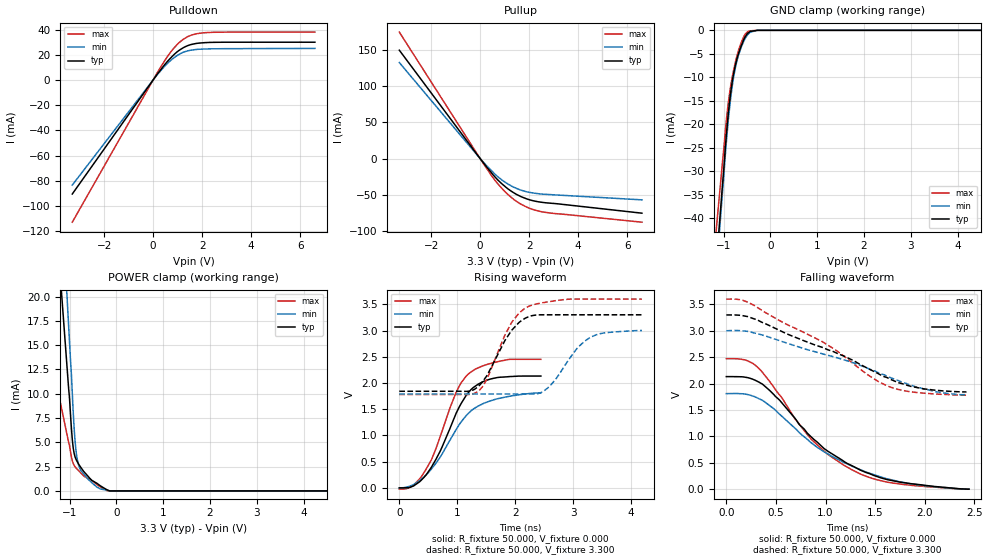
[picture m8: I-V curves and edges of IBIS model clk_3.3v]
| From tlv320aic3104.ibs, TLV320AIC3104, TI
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[Model]   clk_3.3v
Model_type I/O
Vinl=9.900E-01
Vinh=2.310E+00
Vref=0.000E+00
Rref=1.000E+06
Cref=0.000E+00
Vmeas=1.650E+00
C_comp   6.650E-13   6.560E-13   6.720E-13
[Voltage Range]   3.300E+00   3.000E+00   3.600E+00
[POWER Clamp Reference]   3.300E+00   3.000E+00   3.600E+00
[GND Clamp Reference]   0.000E+00   0.000E+00   0.000E+00
[Pullup Reference]   3.300E+00   3.000E+00   3.600E+00
[Pulldown Reference]   0.000E+00   0.000E+00   0.000E+00
[Temperature Range]   25   85   -40
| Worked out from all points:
|   slope of the pulldown table from 0 to 0.495 V, typ, clamps not added: 39.1 ohm
|   slope of the pullup table from 0 to 0.495 V, typ, clamps not added: 23.5 ohm
|   GND clamp passes 1 mA (typ) near -0.51 V on its own axis
|   POWER clamp passes 1 mA (typ) near -0.49 V on its own axis
|   rising waveform, R_fixture 50.000, V_fixture 0.000: 20-80 % time 551ps typ, 663ps min, 522ps max; typ from 0 V to 2.13 V
|   falling waveform, R_fixture 50.000, V_fixture 0.000: 20-80 % time 759ps typ, 839ps min, 692ps max; typ from 2.13 V to 0 V
|   rising waveform, R_fixture 50.000, V_fixture 3.300: 20-80 % time 435ps typ, 490ps min, 457ps max; typ from 1.84 V to 3.3 V
|   falling waveform, R_fixture 50.000, V_fixture 3.300: 20-80 % time 1.05ns typ, 1.14ns min, 948ps max; typ from 3.3 V to 1.84 V
[GND Clamp]
-3.3V     -324.4mA   -328.6mA   -273.3mA
-1.02V    -32.53mA   -34.19mA   -27.79mA
-940mV    -22.19mA   -23.78mA   -19.08mA
-900mV    -17.79mA   -19.26mA   -15.49mA
-840mV    -12.65mA   -13.8mA    -11.38mA
-780mV    -8.976mA   -9.691mA   -8.267mA
-740mV    -7.11mA    -7.6mA     -6.481mA
-680mV    -4.905mA   -5.251mA   -4.199mA
-560mV    -1.792mA   -2.16mA    -1.186mA
-480mV    -593.8uA   -878.4uA   -273.2uA
-280mV    0A         0A         0A
6.6V      0A         0A         0A
[Power Clamp]
-3.3V     158.5mA    217.7mA    57.87mA
-1.02V    10.61mA    17.09mA    5.023mA
-1V       9.532mA    15.33mA    4.646mA
-960mV    6.47mA     12.03mA    3.531mA
-920mV    4.39mA     8.03mA     2.811mA
-880mV    3.482mA    5.045mA    2.479mA
-840mV    3.046mA    3.377mA    2.262mA
-760mV    2.433mA    2.115mA    1.858mA
-520mV    1.072mA    829.8uA    1.057mA
-340mV    518.3uA    197.6uA    410.7uA
-140mV    0A         0A         0A
6.6V      0A         0A         0A
[Pullup]
-3.3V     149.9mA    132.8mA    174.9mA
0V        0A         0A         0A
440mV     -18.7mA    -15.88mA   -22.5mA
860mV     -34mA      -28.81mA   -40.14mA
1.12V     -41.41mA   -34.78mA   -49.17mA
1.38V     -47.37mA   -39.61mA   -56.62mA
1.68V     -52.72mA   -43.7mA    -63.2mA
1.98V     -56.54mA   -46.41mA   -68.11mA
2.58V     -60.63mA   -49.15mA   -73.8mA
6.6V      -75.37mA   -56.96mA   -87.83mA
[Pulldown]
-3.3V     -90.52mA   -83.45mA   -112.9mA
160mV     4.334mA    3.942mA    5.457mA
680mV     16.72mA    14.84mA    21.18mA
980mV     22.32mA    19.37mA    28.11mA
1.2V      25.21mA    21.74mA    31.83mA
1.56V     28.14mA    23.67mA    35.54mA
1.88V     29.23mA    24.36mA    37.01mA
2.3V      29.76mA    24.67mA    37.68mA
6.6V      29.93mA    25.01mA    37.96mA
[Rising Waveform]
R_fixture = 50.000
V_fixture = 0.000
V_fixture_min = 0.000
V_fixture_max = 0.000
|  time   V(typ)   V(min)   V(max)
0s        0V         0V         -23.91mV
245ps     36.07mV    61.46mV    51.4mV
460ps     243.4mV    243.8mV    351.7mV
555ps     395.1mV    361.3mV    536.5mV
705ps     697.4mV    584.9mV    977.3mV
980ps     1.418V     1.109V     1.818V
1.175ns   1.792V     1.402V     2.155V
1.365ns   1.978V     1.561V     2.29V
1.575ns   2.075V     1.659V     2.371V
2.445ns   2.132V     1.81V      2.451V
[Falling Waveform]
R_fixture = 50.000
V_fixture = 0.000
V_fixture_min = 0.000
V_fixture_max = 0.000
|  time   V(typ)   V(min)   V(max)
0s        2.132V     1.81V      2.472V
180ps     2.124V     1.803V     2.451V
290ps     2.064V     1.749V     2.352V
535ps     1.689V     1.423V     1.788V
690ps     1.346V     1.157V     1.338V
855ps     990.4mV    879.1mV    948.3mV
1.025ns   716.1mV    667.2mV    657.3mV
1.265ns   444.8mV    437.8mV    368.1mV
1.625ns   179.1mV    193.6mV    132.5mV
2.445ns   0V         0V         0V
[Rising Waveform]
R_fixture = 50.000
V_fixture = 3.300
V_fixture_min = 3.000
V_fixture_max = 3.600
|  time   V(typ)   V(min)   V(max)
0s        1.842V     1.79V      1.78V
1.16ns    1.84V      1.79V      1.779V
1.355ns   1.924V     1.79V      1.834V
1.525ns   2.164V     1.79V      2.099V
1.945ns   3.01V      1.79V      3.162V
2.25ns    3.271V     1.79V      3.469V
2.575ns   3.3V       1.918V     3.549V
3.06ns    3.3V       2.646V     3.6V
3.275ns   3.3V       2.852V     3.6V
4.19ns    3.3V       3V         3.6V
[Falling Waveform]
R_fixture = 50.000
V_fixture = 3.300
V_fixture_min = 3.000
V_fixture_max = 3.600
|  time   V(typ)   V(min)   V(max)
0s        3.3V       3V         3.6V
210ps     3.271V     2.99V      3.546V
580ps     2.968V     2.785V     3.149V
965ps     2.688V     2.565V     2.796V
1.125ns   2.566V     2.484V     2.605V
1.43ns    2.284V     2.285V     2.161V
1.625ns   2.109V     2.136V     1.954V
1.735ns   2.017V     2.055V     1.888V
1.995ns   1.898V     1.894V     1.818V
2.42ns    1.842V     1.79V      1.78V
[Ramp]
dV/dt_r   1.2826E+00/5.4624E-10   1.0865E+00/6.6076E-10   1.4852E+00/5.2266E-10
dV/dt_f   8.7508E-01/1.0509E-09   7.2620E-01/1.1400E-09   1.0921E+00/9.4838E-10
R_load = 50
